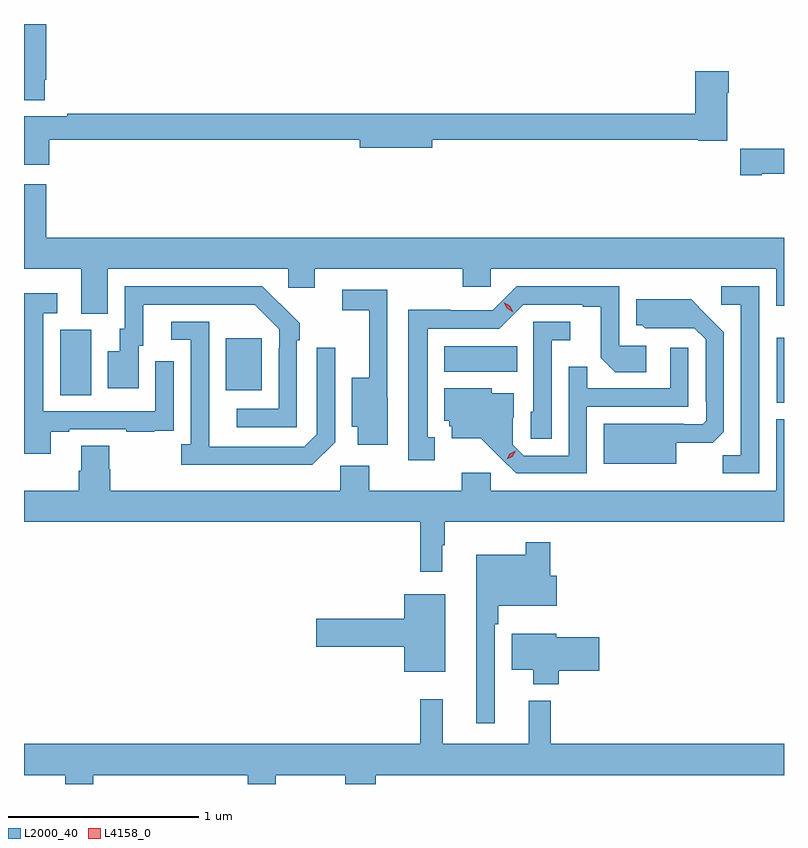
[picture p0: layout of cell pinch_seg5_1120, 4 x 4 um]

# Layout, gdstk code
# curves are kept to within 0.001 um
import gdstk
lib = gdstk.Library(unit=1e-6, precision=1e-09)
def R(c, l, rs):  # rectangles x0, y0, x1, y1
    for r in rs: c.add(gdstk.rectangle(r[:2], r[2:], *l))
def P(c, l, *ps):  # polygons
    for p in ps: c.add(gdstk.Polygon(p, *l))
L2000_40 = (2000, 40)
L4158_0 = (4158, 0)

pinch_seg5_1120 = lib.new_cell('pinch_seg5_1120')
R(pinch_seg5_1120, L2000_40, [(770.711,840.071,770.75,840.415), (766.94,840.112,767.104,840.456), (767.813,840.137,768.001,840.412), (768.962,840.236,769.346,840.37)])
P(pinch_seg5_1120, L2000_40, [(766.86,841.771),(766.867,841.771),(766.867,842.065),(766.75,842.065),(766.75,841.664),(766.86,841.664)],
  [(766.882,841.456),(768.518,841.456),(768.518,841.414),(768.898,841.414),(768.898,841.456),(770.298,841.456),(770.298,841.45),(770.45,841.45),(770.45,841.567),(770.452,841.567),(770.452,841.703),(770.46,841.703),(770.46,841.816),(770.282,841.816),(770.282,841.592),(766.978,841.592),(766.978,841.579),(766.75,841.579),(766.75,841.325),(766.882,841.325)],
  [(770.632,841.277),(770.75,841.277),(770.75,841.408),(770.52,841.408),(770.52,841.27),(770.632,841.27)],
  [(767.191,840.776),(768.141,840.776),(768.141,840.678),(768.28,840.678),(768.28,840.776),(769.06,840.776),(769.06,840.683),(769.206,840.683),(769.206,840.776),(770.708,840.776),(770.708,840.582),(770.75,840.582),(770.75,840.94),(766.867,840.94),(766.867,841.222),(766.75,841.222),(766.75,840.776),(767.051,840.776),(767.051,840.541),(767.191,840.541)],
  [(768.186,840.401),(768.201,840.401),(768.201,840.489),(768.004,840.684),(767.28,840.684),(767.28,840.462),(767.255,840.462),(767.255,840.343),(767.192,840.343),(767.192,840.147),(767.353,840.147),(767.353,840.372),(767.377,840.372),(767.377,840.588),(767.965,840.588),(768.093,840.459),(768.093,840.359),(768.09,840.359),(768.09,840.039),(767.871,840.039),(767.871,839.943),(768.186,839.943)],
  [(768.913,839.889),(768.874,839.889),(768.874,840.462),(769.251,840.462),(769.377,840.588),(769.691,840.588),(769.691,840.576),(769.785,840.576),(769.785,840.308),(769.861,840.232),(770.026,840.232),(770.026,840.372),(769.884,840.372),(769.884,840.684),(769.344,840.684),(769.218,840.558),(768.996,840.558),(768.996,840.56),(768.773,840.56),(768.773,839.769),(768.913,839.769)],
  [(770.619,840.684),(770.421,840.684),(770.421,840.588),(770.523,840.588),(770.523,839.795),(770.428,839.795),(770.428,839.7),(770.619,839.7)],
  [(768.664,840.098),(768.663,840.098),(768.663,840.666),(768.426,840.666),(768.426,840.558),(768.566,840.558),(768.566,840.202),(768.476,840.202),(768.476,839.945),(768.506,839.945),(768.506,839.85),(768.664,839.85)],
  [(766.891,839.919),(766.987,839.919),(766.987,839.931),(767.287,839.931),(767.287,839.919),(767.435,839.919),(767.435,839.925),(767.537,839.925),(767.537,840.034),(767.538,840.034),(767.538,840.289),(767.442,840.289),(767.442,840.027),(766.851,840.027),(766.851,840.543),(766.924,840.543),(766.924,840.649),(766.75,840.649),(766.75,839.802),(766.891,839.802)],
  [(770.182,839.861),(770.374,839.861),(770.433,839.92),(770.433,840.442),(770.261,840.616),(769.973,840.616),(769.973,840.48),(770.004,840.48),(770.02,840.464),(770.277,840.465),(770.337,840.405),(770.337,840.076),(770.34,840.076),(770.34,839.976),(770.322,839.958),(770.222,839.958),(770.222,839.962),(769.802,839.962),(769.802,839.75),(770.182,839.75)],
  [(769.527,840.401),(769.624,840.401),(769.624,840.498),(769.431,840.498),(769.431,840.024),(769.416,840.024),(769.416,839.881),(769.527,839.881)],
  [(768.387,839.865),(768.387,840.361),(768.291,840.361),(768.291,839.907),(768.225,839.841),(767.725,839.841),(767.724,840.498),(767.526,840.498),(767.526,840.402),(767.628,840.402),(767.628,839.854),(767.577,839.854),(767.577,839.744),(768.266,839.744)],
  [(769.713,840.051),(770.247,840.051),(770.247,840.361),(770.151,840.361),(770.151,840.147),(769.715,840.147),(769.715,840.26),(769.617,840.26),(769.617,839.793),(769.38,839.793),(769.323,839.85),(769.323,839.992),(769.327,839.992),(769.327,840.121),(769.212,840.121),(769.212,840.148),(768.962,840.148),(768.962,839.976),(768.987,839.976),(768.987,839.949),(769.001,839.949),(769.001,839.885),(769.153,839.885),(769.34,839.7),(769.713,839.7)],
  [(770.75,839.986),(770.708,839.986),(770.708,839.608),(769.206,839.608),(769.206,839.704),(769.055,839.704),(769.055,839.608),(768.566,839.608),(768.566,839.74),(768.414,839.74),(768.414,839.608),(767.204,839.608),(767.204,839.721),(767.199,839.721),(767.199,839.846),(767.051,839.846),(767.051,839.714),(767.039,839.714),(767.039,839.608),(766.75,839.608),(766.75,839.444),(768.835,839.444),(768.835,839.181),(768.952,839.181),(768.952,839.321),(768.964,839.321),(768.964,839.444),(770.75,839.444)],
  [(769.227,838.907),(769.247,838.907),(769.247,839.003),(769.555,839.003),(769.555,839.161),(769.52,839.161),(769.52,839.338),(769.392,839.338),(769.392,839.272),(769.13,839.272),(769.13,838.386),(769.227,838.386)],
  [(768.967,839.065),(768.752,839.065),(768.752,838.934),(768.288,838.934),(768.288,838.787),(768.752,838.787),(768.752,838.655),(768.967,838.655)],
  [(769.565,838.66),(769.777,838.66),(769.777,838.838),(769.552,838.838),(769.552,838.855),(769.316,838.855),(769.316,838.667),(769.43,838.667),(769.43,838.589),(769.565,838.589)],
  [(767.115,838.112),(767.928,838.112),(767.928,838.065),(768.075,838.065),(768.075,838.112),(768.442,838.112),(768.442,838.065),(768.602,838.065),(768.602,838.112),(770.75,838.112),(770.75,838.276),(769.523,838.276),(769.523,838.504),(769.406,838.504),(769.406,838.276),(768.953,838.276),(768.953,838.51),(768.835,838.51),(768.835,838.276),(766.75,838.276),(766.75,838.112),(766.967,838.112),(766.967,838.065),(767.115,838.065)])
P(pinch_seg5_1120, L4158_0, [(769.29,839.773),(769.29,839.774),(769.307,839.803),(769.338,839.818),(769.338,839.818),(769.338,839.818),(769.321,839.788),(769.29,839.773)],
  [(769.324,840.548),(769.292,840.568),(769.275,840.601),(769.275,840.601),(769.276,840.601),(769.307,840.581),(769.324,840.548),(769.324,840.548)])

lib.write_gds('pinch_seg5_1120.gds')
